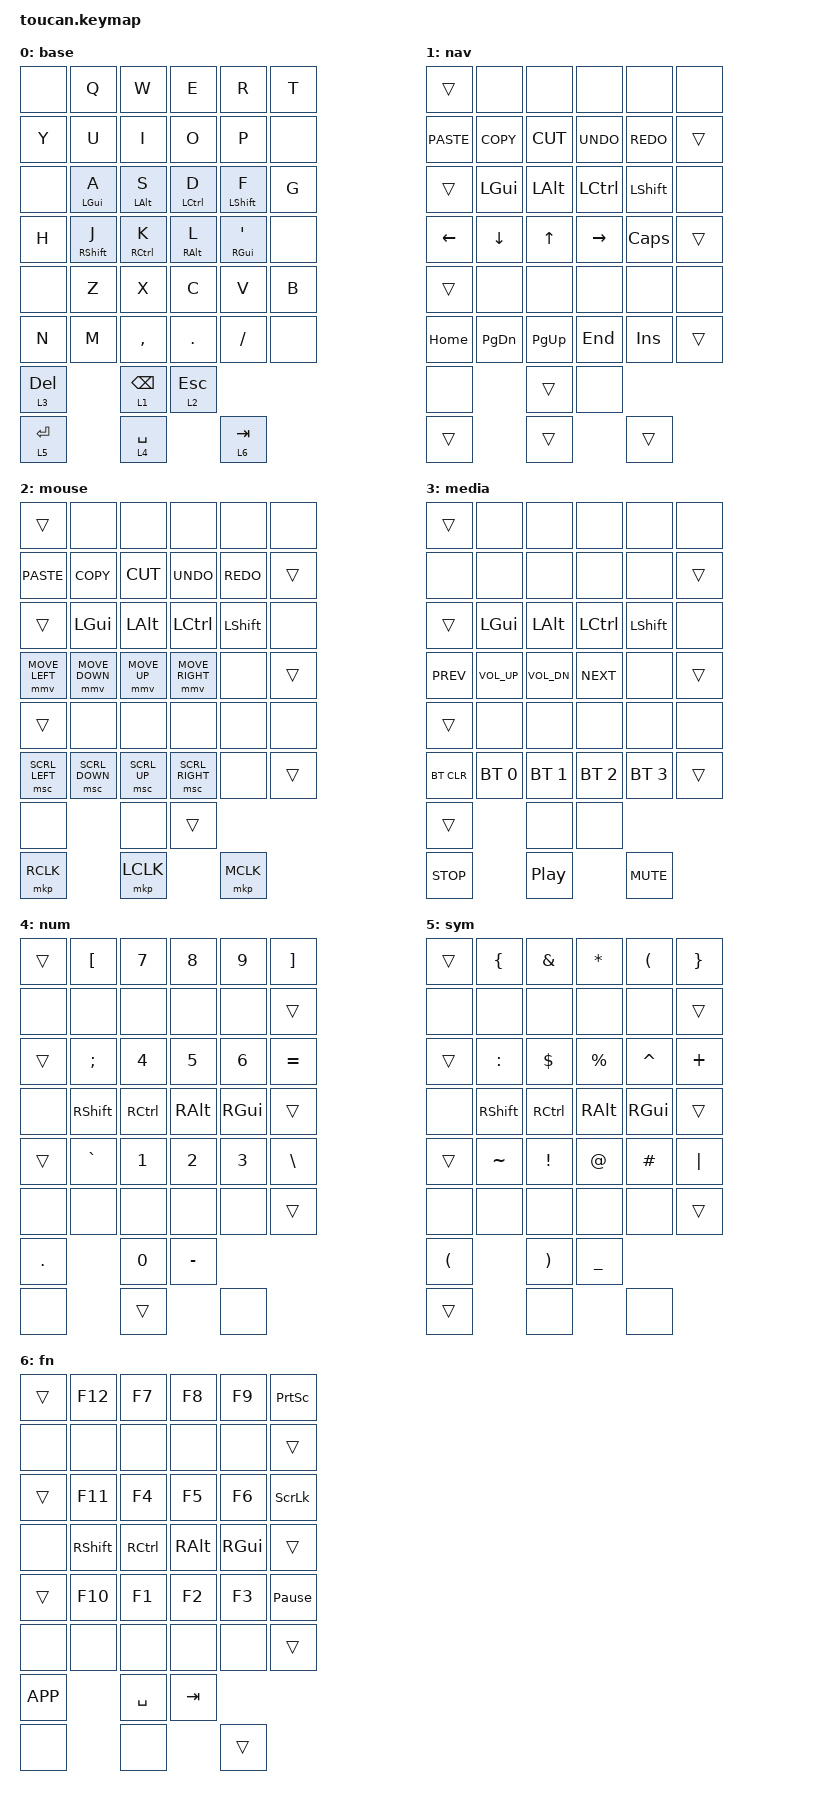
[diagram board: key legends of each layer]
#include <behaviors.dtsi>
#include <dt-bindings/zmk/keys.h>
#include <dt-bindings/zmk/bt.h>
#include <dt-bindings/zmk/outputs.h>
#include <dt-bindings/zmk/pointing.h>

/*
 * Key positions (42 keys):
 *   0  1  2  3  4  5      6  7  8  9 10 11
 *  12 13 14 15 16 17     18 19 20 21 22 23
 *  24 25 26 27 28 29     30 31 32 33 34 35
 *           36 37 38     39 40 41
 */
#define KEYS_L 0 1 2 3 4 5 12 13 14 15 16 17 24 25 26 27 28 29
#define KEYS_R 6 7 8 9 10 11 18 19 20 21 22 23 30 31 32 33 34 35
#define THUMBS 36 37 38 39 40 41

/ {
    behaviors {
        /* Left-hand home row mods: only become a modifier when the
           other key is on the right hand or a thumb. */
        hml: home_row_mod_left {
            compatible = "zmk,behavior-hold-tap";
            #binding-cells = <2>;
            flavor = "balanced";
            tapping-term-ms = <280>;
            quick-tap-ms = <175>;
            require-prior-idle-ms = <150>;
            bindings = <&kp>, <&kp>;
            hold-trigger-key-positions = <KEYS_R THUMBS>;
            hold-trigger-on-release;
        };

        /* Right-hand home row mods: mirror of the above. */
        hmr: home_row_mod_right {
            compatible = "zmk,behavior-hold-tap";
            #binding-cells = <2>;
            flavor = "balanced";
            tapping-term-ms = <280>;
            quick-tap-ms = <175>;
            require-prior-idle-ms = <150>;
            bindings = <&kp>, <&kp>;
            hold-trigger-key-positions = <KEYS_L THUMBS>;
            hold-trigger-on-release;
        };
    };

    keymap {
        compatible = "zmk,keymap";

        /* Layer 0 */
        base {
            display-name = "base";

            /* QWERTY with home row mods */
            bindings = <
                /* Top row left */
                &none &kp Q &kp W &kp E &kp R &kp T

                /* Top row right */
                &kp Y &kp U &kp I &kp O &kp P &none

                /* Home row left */
                &none &hml LGUI A &hml LALT S &hml LCTRL D &hml LSHFT F &kp G

                /* Home row right */
                &kp H &hmr RSHFT J &hmr RCTRL K &hmr RALT L &hmr RGUI SQT &none

                /* Bottom row left */
                &none &kp Z &kp X &kp C &kp V &kp B

                /* Bottom row right */
                &kp N &kp M &kp COMMA &kp DOT &kp FSLH &none

                /* Thumb row left */
                &lt 3 DEL &lt 1 BSPC &lt 2 ESC

                /* Thumb row right */
                &lt 5 RET &lt 4 SPACE &lt 6 TAB
            >;
        };

        /* Layer 1 */
        nav {
            display-name = "nav";

            /* like Miryoku, but column rotated to match Vim movement hjkl */
            bindings = <
                /* Top row left */
                &trans &none &none &none &none &none

                /* Top row right */
                &kp K_PASTE &kp K_COPY &kp K_CUT &kp K_UNDO &kp K_REDO &trans

                /* Home row left */
                &trans &kp LGUI &kp LALT &kp LCTRL &kp LSHFT &none

                /* Home row right */
                &kp LEFT &kp DOWN &kp UP &kp RIGHT &kp CAPS &trans

                /* Bottom row left */
                &trans &none &none &none &none &none

                /* Bottom row right */
                &kp HOME &kp PG_DN &kp PG_UP &kp END &kp INS &trans

                /* Thumb row left */
                &none &trans &none

                /* Thumb row right */
                &trans &trans &trans
            >;
        };

        /* Layer 2 */
        mouse {
            display-name = "mouse";

            bindings = <
                /* Top row left */
                &trans &none &none &none &none &none

                /* Top row right */
                &kp K_PASTE &kp K_COPY &kp K_CUT &kp K_UNDO &kp K_REDO &trans

                /* Home row left */
                &trans &kp LGUI &kp LALT &kp LCTRL &kp LSHFT &none

                /* Home row right */
                &mmv MOVE_LEFT &mmv MOVE_DOWN &mmv MOVE_UP &mmv MOVE_RIGHT &none &trans

                /* Bottom row left */
                &trans &none &none &none &none &none

                /* Bottom row right */
                &msc SCRL_LEFT &msc SCRL_DOWN &msc SCRL_UP &msc SCRL_RIGHT &none &trans

                /* Thumb row left */
                &none &none &trans

                /* Thumb row right */
                &mkp RCLK &mkp LCLK &mkp MCLK
            >;
        };

        /* Layer 3 */
        media {
            display-name = "media";

            bindings = <
                /* Top row left */
                &trans &none &none &none &none &none

                /* Top row right */
                &none &none &none &none &none &trans

                /* Home row left */
                &trans &kp LGUI &kp LALT &kp LCTRL &kp LSHFT &none

                /* Home row right */
                &kp C_PREV &kp C_VOL_UP &kp C_VOL_DN &kp C_NEXT &none &trans

                /* Bottom row left */
                &trans &none &none &none &none &none

                /* Bottom row right */
                &bt BT_CLR &bt BT_SEL 0 &bt BT_SEL 1 &bt BT_SEL 2 &bt BT_SEL 3 &trans

                /* Thumb row left */
                &trans &none &none

                /* Thumb row right */
                &kp C_STOP &kp C_PP &kp C_MUTE
            >;
        };

        /* Layer 4 */
        num {
            display-name = "num";

            bindings = <
                /* Top row left */
                &trans &kp LBKT &kp N7 &kp N8 &kp N9 &kp RBKT

                /* Top row right */
                &none &none &none &none &none &trans

                /* Home row left */
                &trans &kp SEMI &kp N4 &kp N5 &kp N6 &kp EQUAL

                /* Home row right */
                &none &kp RSHFT &kp RCTRL &kp RALT &kp RGUI &trans

                /* Bottom row left */
                &trans &kp GRAVE &kp N1 &kp N2 &kp N3 &kp BSLH

                /* Bottom row right */
                &none &none &none &none &none &trans

                /* Thumb row left */
                &kp DOT &kp N0 &kp MINUS

                /* Thumb row right */
                &none &trans &none
            >;
        };

        /* Layer 5 */
        sym {
            display-name = "sym";

            bindings = <
                /* Top row left */
                &trans &kp LBRC &kp AMPS &kp STAR &kp LPAR &kp RBRC

                /* Top row right */
                &none &none &none &none &none &trans

                /* Home row left */
                &trans &kp COLON &kp DOLLAR &kp PERCENT &kp CARET &kp PLUS

                /* Home row right */
                &none &kp RSHFT &kp RCTRL &kp RALT &kp RGUI &trans

                /* Bottom row left */
                &trans &kp TILDE &kp EXCL &kp AT &kp HASH &kp PIPE

                /* Bottom row right */
                &none &none &none &none &none &trans

                /* Thumb row left */
                &kp LPAR &kp RPAR &kp UNDER

                /* Thumb row right */
                &trans &none &none
            >;
        };

        /* Layer 6 */
        fn {
            display-name = "fn";

            bindings = <
                /* Top row left */
                &trans &kp F12 &kp F7 &kp F8 &kp F9 &kp PSCRN

                /* Top row right */
                &none &none &none &none &none &trans

                /* Home row left */
                &trans &kp F11 &kp F4 &kp F5 &kp F6 &kp SLCK

                /* Home row right */
                &none &kp RSHFT &kp RCTRL &kp RALT &kp RGUI &trans

                /* Bottom row left */
                &trans &kp F10 &kp F1 &kp F2 &kp F3 &kp PAUSE_BREAK

                /* Bottom row right */
                &none &none &none &none &none &trans

                /* Thumb row left */
                &kp K_APP &kp SPACE &kp TAB

                /* Thumb row right */
                &none &none &trans
            >;
        };
    };
};
